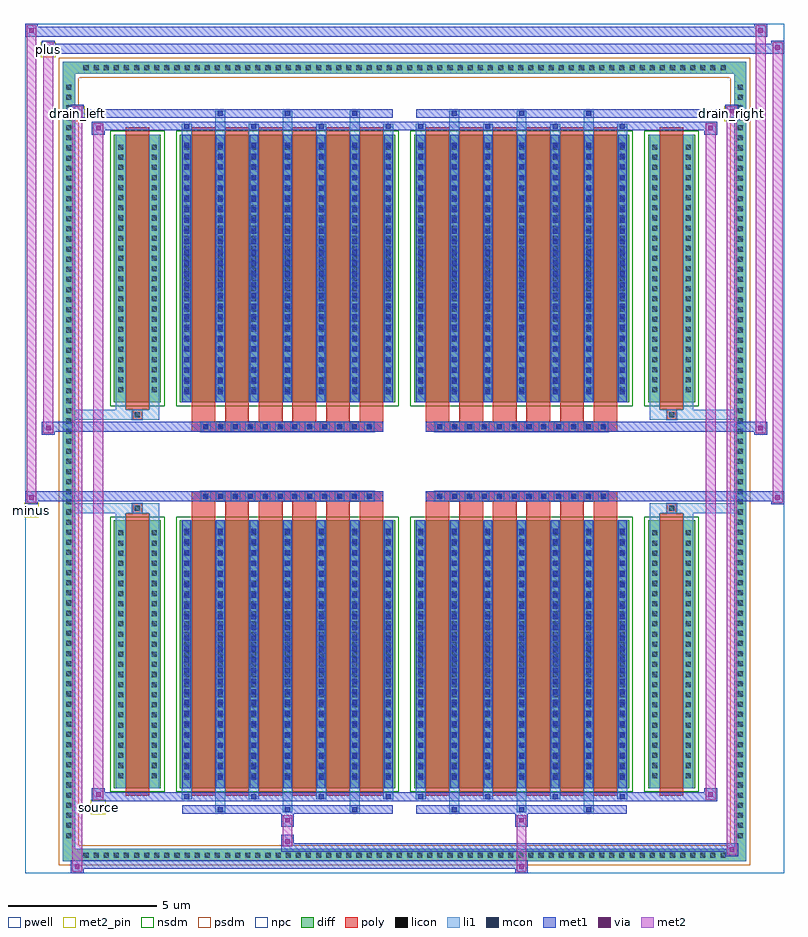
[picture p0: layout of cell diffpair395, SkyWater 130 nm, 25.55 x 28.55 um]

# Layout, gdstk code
import gdstk
lib = gdstk.Library(unit=1e-6, precision=5e-09)
def R(c, l, rs):  # rectangles x0, y0, x1, y1
    for r in rs: c.add(gdstk.rectangle(r[:2], r[2:], *l))
def A(c, l, x, y, w, h, nx, ny, dx, dy):  # array of equal rectangles
    R(c, l, [(x+i*dx, y+j*dy, x+i*dx+w, y+j*dy+h) for i in range(nx) for j in range(ny)])
def P(c, l, *ps):  # polygons
    for p in ps: c.add(gdstk.Polygon(p, *l))
pwell = (64, 44)
diff = (65, 20)
poly = (66, 20)
licon = (66, 44)
li1 = (67, 20)
mcon = (67, 44)
met1 = (68, 20)
via = (68, 44)
met2_pin = (69, 16)
met2 = (69, 20)
nsdm = (93, 44)
psdm = (94, 20)
npc = (95, 20)

diffpair395 = lib.new_cell('diffpair395')
R(diffpair395, pwell, [(-12.76,-13.84,12.76,14.71), (-10.08,-12.03,-0.01,-0.805), (0.01,-12.03,10.08,-0.805), (-10.08,0.805,-0.01,12.03), (0.01,0.805,10.08,12.03)])
A(diffpair395, diff, -10.915, -13.44, 0.41, 0.41, 64, 2, 0.34, 26.47)
A(diffpair395, diff, -11.49, -12.785, 0.41, 0.41, 1, 75, 0, 0.34)
A(diffpair395, diff, 11.08, -12.785, 0.41, 0.41, 1, 75, 0, 0.34)
R(diffpair395, diff, [(-10.915,-13.44,10.915,-13.03), (-11.49,-12.785,-11.08,12.785), (11.08,-12.785,11.49,12.785), (-9.77,-10.985,-8.19,-1.985), (-7.55,-10.985,-0.32,-1.985), (0.32,-10.985,7.55,-1.985), (8.19,-10.985,9.77,-1.985), (-9.77,1.985,-8.19,10.985), (-7.55,1.985,-0.32,10.985), (0.32,1.985,7.55,10.985), (8.19,1.985,9.77,10.985), (-10.915,13.03,10.915,13.44)])
P(diffpair395, diff, [(11.49,13.44),(-11.49,13.44),(-11.49,-13.03),(-11.08,-13.03),(-11.08,13.03),(11.08,13.03),(11.08,-13.03),(-11.08,-13.03),(-11.49,-13.03),(-11.49,-13.44),(11.49,-13.44)])
A(diffpair395, poly, -7.16, -11.235, 0.8, 9.5, 6, 2, 1.13, 12.97)
A(diffpair395, poly, 0.71, -11.235, 0.8, 9.5, 6, 2, 1.13, 12.97)
A(diffpair395, poly, -7.16, -1.735, 0.8, 0.4, 6, 2, 1.13, 3.07)
A(diffpair395, poly, 0.71, -1.735, 0.8, 0.4, 6, 2, 1.13, 3.07)
A(diffpair395, poly, -6.85, -1.335, 0.33, 0.33, 12, 2, 0.5, 2.34)
A(diffpair395, poly, 1.02, -1.335, 0.33, 0.33, 12, 2, 0.5, 2.34)
R(diffpair395, poly, [(-9.38,-11.235,-8.58,-1.735), (8.58,-11.235,9.38,-1.735), (-9.145,-1.735,-8.815,-1.405), (-9.145,-1.735,-8.815,-1.405), (8.815,-1.735,9.145,-1.405), (8.815,-1.735,9.145,-1.405), (-7.16,-1.335,-0.71,-1.005), (0.71,-1.335,7.16,-1.005), (-7.16,1.005,-0.71,1.335), (0.71,1.005,7.16,1.335), (-9.145,1.405,-8.815,1.735), (-9.145,1.405,-8.815,1.735), (8.815,1.405,9.145,1.735), (8.815,1.405,9.145,1.735), (-9.38,1.735,-8.58,11.235), (8.58,1.735,9.38,11.235)])
A(diffpair395, licon, -10.795, -13.32, 0.17, 0.17, 64, 2, 0.34, 26.47)
A(diffpair395, licon, -11.37, -12.665, 0.17, 0.17, 1, 75, 0, 0.34)
A(diffpair395, licon, 11.2, -12.665, 0.17, 0.17, 1, 75, 0, 0.34)
A(diffpair395, licon, -9.63, -10.65, 0.17, 0.17, 1, 25, 0, 0.34)
A(diffpair395, licon, -8.5, -10.65, 0.17, 0.17, 1, 25, 0, 0.34)
A(diffpair395, licon, -7.41, -10.65, 0.17, 0.17, 7, 25, 1.13, 0.34)
A(diffpair395, licon, 0.46, -10.65, 0.17, 0.17, 7, 25, 1.13, 0.34)
A(diffpair395, licon, 8.33, -10.65, 0.17, 0.17, 1, 25, 0, 0.34)
A(diffpair395, licon, 9.46, -10.65, 0.17, 0.17, 1, 25, 0, 0.34)
A(diffpair395, licon, -6.77, -1.255, 0.17, 0.17, 12, 2, 0.5, 2.34)
A(diffpair395, licon, 1.1, -1.255, 0.17, 0.17, 12, 2, 0.5, 2.34)
A(diffpair395, licon, -9.63, 2.32, 0.17, 0.17, 1, 25, 0, 0.34)
A(diffpair395, licon, -8.5, 2.32, 0.17, 0.17, 1, 25, 0, 0.34)
A(diffpair395, licon, -7.41, 2.32, 0.17, 0.17, 7, 25, 1.13, 0.34)
A(diffpair395, licon, 0.46, 2.32, 0.17, 0.17, 7, 25, 1.13, 0.34)
A(diffpair395, licon, 8.33, 2.32, 0.17, 0.17, 1, 25, 0, 0.34)
A(diffpair395, licon, 9.46, 2.32, 0.17, 0.17, 1, 25, 0, 0.34)
R(diffpair395, licon, [(-9.065,-1.655,-8.895,-1.485), (8.895,-1.655,9.065,-1.485), (-9.065,1.485,-8.895,1.655), (8.895,1.485,9.065,1.655)])
A(diffpair395, li1, -10.875, -13.4, 0.33, 0.33, 64, 2, 0.34, 26.47)
A(diffpair395, li1, -11.45, -12.745, 0.33, 0.33, 1, 75, 0, 0.34)
A(diffpair395, li1, 11.12, -12.745, 0.33, 0.33, 1, 75, 0, 0.34)
A(diffpair395, li1, -6.36, -11.79, 0.33, 0.805, 3, 2, 2.26, 22.775)
A(diffpair395, li1, -6.28, -11.79, 0.17, 0.17, 3, 2, 2.26, 23.41)
A(diffpair395, li1, 1.51, -11.79, 0.33, 0.805, 3, 2, 2.26, 22.775)
A(diffpair395, li1, 1.59, -11.79, 0.17, 0.17, 3, 2, 2.26, 23.41)
A(diffpair395, li1, -7.49, -11.36, 0.33, 0.375, 4, 2, 2.26, 22.345)
A(diffpair395, li1, -7.41, -11.36, 0.17, 0.17, 4, 2, 2.26, 22.55)
A(diffpair395, li1, 0.38, -11.36, 0.33, 0.375, 4, 2, 2.26, 22.345)
A(diffpair395, li1, 0.46, -11.36, 0.17, 0.17, 4, 2, 2.26, 22.55)
A(diffpair395, li1, -7.49, -10.985, 0.33, 9, 7, 2, 1.13, 12.97)
A(diffpair395, li1, 0.38, -10.985, 0.33, 9, 7, 2, 1.13, 12.97)
A(diffpair395, li1, -9.71, -10.73, 0.33, 0.33, 1, 25, 0, 0.34)
A(diffpair395, li1, -8.58, -10.73, 0.33, 0.33, 1, 25, 0, 0.34)
A(diffpair395, li1, -7.49, -10.73, 0.33, 0.33, 7, 25, 1.13, 0.34)
A(diffpair395, li1, 0.38, -10.73, 0.33, 0.33, 7, 25, 1.13, 0.34)
A(diffpair395, li1, 8.25, -10.73, 0.33, 0.33, 1, 25, 0, 0.34)
A(diffpair395, li1, 9.38, -10.73, 0.33, 0.33, 1, 25, 0, 0.34)
A(diffpair395, li1, -7.41, -10.71, 0.17, 0.17, 7, 24, 1.13, 0.36)
A(diffpair395, li1, -7.41, -10.71, 0.17, 8.45, 7, 2, 1.13, 12.97)
A(diffpair395, li1, 0.46, -10.71, 0.17, 0.17, 7, 24, 1.13, 0.36)
A(diffpair395, li1, 0.46, -10.71, 0.17, 8.45, 7, 2, 1.13, 12.97)
A(diffpair395, li1, -6.85, -1.335, 0.33, 0.33, 12, 2, 0.5, 2.34)
A(diffpair395, li1, 1.02, -1.335, 0.33, 0.33, 12, 2, 0.5, 2.34)
A(diffpair395, li1, -9.71, 2.24, 0.33, 0.33, 1, 25, 0, 0.34)
A(diffpair395, li1, -8.58, 2.24, 0.33, 0.33, 1, 25, 0, 0.34)
A(diffpair395, li1, -7.49, 2.24, 0.33, 0.33, 7, 25, 1.13, 0.34)
A(diffpair395, li1, 0.38, 2.24, 0.33, 0.33, 7, 25, 1.13, 0.34)
A(diffpair395, li1, 8.25, 2.24, 0.33, 0.33, 1, 25, 0, 0.34)
A(diffpair395, li1, 9.38, 2.24, 0.33, 0.33, 1, 25, 0, 0.34)
A(diffpair395, li1, -7.41, 2.26, 0.17, 0.17, 7, 24, 1.13, 0.36)
A(diffpair395, li1, 0.46, 2.26, 0.17, 0.17, 7, 24, 1.13, 0.36)
R(diffpair395, li1, [(-11.49,-13.44,-11.08,-13.03), (-11.49,-13.44,-11.08,-13.03), (-11.08,-13.44,11.08,-13.03), (11.08,-13.44,11.49,-13.03), (11.08,-13.44,11.49,-13.03), (-11.49,-13.03,-11.08,13.03), (11.08,-13.03,11.49,13.03), (-9.71,-10.985,-9.38,-1.985), (-8.58,-10.985,-8.25,-1.985), (8.25,-10.985,8.58,-1.985), (9.38,-10.985,9.71,-1.985), (-9.71,-1.985,-9.38,-1.405), (-8.58,-1.985,-8.25,-1.405), (8.25,-1.985,8.58,-1.405), (9.38,-1.985,9.71,-1.405), (-11.49,-1.735,-9.145,-1.405), (-9.71,-1.735,-9.145,-1.405), (-9.145,-1.735,-8.815,-1.405), (-8.815,-1.735,-8.25,-1.405), (8.25,-1.735,8.815,-1.405), (8.815,-1.735,9.145,-1.405), (8.815,-1.735,11.49,-1.405), (9.145,-1.735,9.71,-1.405), (-11.49,1.405,-9.145,1.735), (-9.71,1.405,-9.145,1.735), (-9.71,1.405,-9.38,1.985), (-9.145,1.405,-8.815,1.735), (-8.815,1.405,-8.25,1.735), (-8.58,1.405,-8.25,1.985), (8.25,1.405,8.815,1.735), (8.25,1.405,8.58,1.985), (8.815,1.405,9.145,1.735), (8.815,1.405,11.49,1.735), (9.145,1.405,9.71,1.735), (9.38,1.405,9.71,1.985), (-9.71,1.985,-9.38,10.985), (-8.58,1.985,-8.25,10.985), (8.25,1.985,8.58,10.985), (9.38,1.985,9.71,10.985), (-11.49,13.03,-11.08,13.44), (-11.49,13.03,-11.08,13.44), (-11.08,13.03,11.08,13.44), (11.08,13.03,11.49,13.44), (11.08,13.03,11.49,13.44)])
A(diffpair395, mcon, -6.28, -11.79, 0.17, 0.17, 3, 2, 2.26, 23.41)
A(diffpair395, mcon, 1.59, -11.79, 0.17, 0.17, 3, 2, 2.26, 23.41)
A(diffpair395, mcon, -7.41, -11.36, 0.17, 0.17, 4, 2, 2.26, 22.55)
A(diffpair395, mcon, 0.46, -11.36, 0.17, 0.17, 4, 2, 2.26, 22.55)
A(diffpair395, mcon, -7.41, -10.71, 0.17, 0.17, 7, 24, 1.13, 0.36)
A(diffpair395, mcon, 0.46, -10.71, 0.17, 0.17, 7, 24, 1.13, 0.36)
A(diffpair395, mcon, -6.77, -1.255, 0.17, 0.17, 12, 2, 0.5, 2.34)
A(diffpair395, mcon, 1.1, -1.255, 0.17, 0.17, 12, 2, 0.5, 2.34)
A(diffpair395, mcon, -7.41, 2.26, 0.17, 0.17, 7, 24, 1.13, 0.36)
A(diffpair395, mcon, 0.46, 2.26, 0.17, 0.17, 7, 24, 1.13, 0.36)
A(diffpair395, met1, -6.34, -11.85, 0.29, 0.29, 3, 2, 2.26, 23.41)
A(diffpair395, met1, 1.53, -11.85, 0.29, 0.29, 3, 2, 2.26, 23.41)
A(diffpair395, met1, -7.47, -11.42, 0.29, 0.29, 4, 2, 2.26, 22.55)
A(diffpair395, met1, 0.4, -11.42, 0.29, 0.29, 4, 2, 2.26, 22.55)
A(diffpair395, met1, -7.47, -10.985, 0.29, 9, 7, 2, 1.13, 12.97)
A(diffpair395, met1, 0.4, -10.985, 0.29, 9, 7, 2, 1.13, 12.97)
A(diffpair395, met1, -7.47, -10.77, 0.29, 0.29, 7, 24, 1.13, 0.36)
A(diffpair395, met1, 0.4, -10.77, 0.29, 0.29, 7, 24, 1.13, 0.36)
A(diffpair395, met1, -6.83, -1.315, 0.29, 0.29, 12, 2, 0.5, 2.34)
A(diffpair395, met1, 1.04, -1.315, 0.29, 0.29, 12, 2, 0.5, 2.34)
A(diffpair395, met1, -7.47, 2.2, 0.29, 0.29, 7, 24, 1.13, 0.36)
A(diffpair395, met1, 0.4, 2.2, 0.29, 0.29, 7, 24, 1.13, 0.36)
R(diffpair395, met1, [(-11.22,-13.84,-10.79,-13.41), (3.72,-13.84,4.15,-13.41), (-11.22,-13.7,4.15,-13.41), (10.79,-13.27,11.22,-12.84), (-4.15,-13.13,11.22,-12.84), (-4.15,-12.99,-3.72,-12.56), (-4.15,-12.28,-3.72,-11.85), (3.72,-12.28,4.15,-11.85), (-7.47,-11.85,-0.4,-11.56), (0.4,-11.85,7.47,-11.56), (-10.51,-11.42,-10.08,-10.99), (-10.51,-11.42,-7.47,-11.13), (-7.47,-11.42,-0.4,-11.13), (-0.4,-11.42,0.4,-11.13), (0.4,-11.42,7.47,-11.13), (7.47,-11.42,10.51,-11.13), (10.08,-11.42,10.51,-10.99), (-12.76,-1.435,-12.33,-1.005), (12.33,-1.435,12.76,-1.005), (-12.76,-1.335,-0.71,-1.005), (-7.16,-1.335,-0.71,-1.005), (0.71,-1.335,7.16,-1.005), (0.71,-1.335,12.76,-1.005), (-12.19,0.905,-11.76,1.335), (11.76,0.905,12.19,1.335), (-12.19,1.005,-7.16,1.335), (-7.16,1.005,-0.71,1.335), (0.71,1.005,7.16,1.335), (7.16,1.005,12.19,1.335), (-10.51,10.99,-10.08,11.42), (10.08,10.99,10.51,11.42), (-10.51,11.13,-7.47,11.42), (-7.47,11.13,-0.4,11.42), (-0.4,11.13,0.4,11.42), (0.4,11.13,7.47,11.42), (7.47,11.13,10.51,11.42), (-11.22,11.56,-10.79,11.99), (-11.22,11.56,-7.47,11.85), (-7.47,11.56,-0.4,11.85), (0.4,11.56,7.47,11.85), (7.47,11.56,11.22,11.85), (10.79,11.56,11.22,11.99), (-12.19,13.71,-11.76,14.14), (-12.19,13.71,-10.08,14.04), (-10.08,13.71,10.08,14.04), (10.08,13.71,12.76,14.04), (12.33,13.71,12.76,14.14), (-12.76,14.28,-12.33,14.71), (-12.76,14.28,-10.08,14.61), (-10.08,14.28,10.08,14.61), (10.08,14.28,12.19,14.61), (11.76,14.28,12.19,14.71)])
R(diffpair395, via, [(-11.08,-13.7,-10.93,-13.55), (3.86,-13.7,4.01,-13.55), (10.93,-13.13,11.08,-12.98), (-4.01,-12.85,-3.86,-12.7), (-4.01,-12.14,-3.86,-11.99), (3.86,-12.14,4.01,-11.99), (-10.37,-11.28,-10.22,-11.13), (10.22,-11.28,10.37,-11.13), (-12.62,-1.295,-12.47,-1.145), (12.47,-1.295,12.62,-1.145), (-12.05,1.045,-11.9,1.195), (11.9,1.045,12.05,1.195), (-10.37,11.13,-10.22,11.28), (10.22,11.13,10.37,11.28), (-11.08,11.7,-10.93,11.85), (10.93,11.7,11.08,11.85), (-12.05,13.85,-11.9,14), (12.47,13.85,12.62,14), (-12.62,14.42,-12.47,14.57), (11.9,14.42,12.05,14.57)])
R(diffpair395, met2_pin, [(-10.545,-11.87,-10.045,-11.37), (-12.795,-1.885,-12.295,-1.385), (-11.255,11.44,-10.755,11.94), (10.755,11.44,11.255,11.94), (-12.225,13.59,-11.725,14.09)])
R(diffpair395, met2, [(-11.17,-13.79,-10.84,-13.46), (-11.17,-13.79,-10.84,11.94), (3.77,-13.79,4.1,-13.46), (3.77,-13.46,4.1,-12.23), (10.84,-13.22,11.17,-12.89), (10.84,-13.22,11.17,11.94), (-4.1,-12.94,-3.77,-12.61), (-4.1,-12.61,-3.77,-12.23), (-4.1,-12.23,-3.77,-11.9), (3.77,-12.23,4.1,-11.9), (-10.46,-11.37,-10.13,-11.04), (-10.46,-11.37,-10.13,11.37), (10.13,-11.37,10.46,-11.04), (10.13,-11.37,10.46,11.37), (-12.71,-1.385,-12.38,-1.055), (-12.71,-1.385,-12.38,14.66), (12.38,-1.385,12.71,-1.055), (12.38,-1.385,12.71,14.09), (-12.14,0.955,-11.81,1.285), (-12.14,0.955,-11.81,14.09), (11.81,0.955,12.14,1.285), (11.81,0.955,12.14,14.66), (-10.46,11.04,-10.13,11.37), (10.13,11.04,10.46,11.37), (-11.17,11.61,-10.84,11.94), (10.84,11.61,11.17,11.94), (-12.14,13.76,-11.81,14.09), (12.38,13.76,12.71,14.09), (-12.71,14.33,-12.38,14.66), (11.81,14.33,12.14,14.66)])
P(diffpair395, met2, [(12.71,-1.385),(12.71,-1.385),(12.71,-1.055),(12.71,-1.055)],
  [(12.71,13.76),(12.71,13.76),(12.71,14.09),(12.71,14.09)],
  [(-12.38,-1.385),(-12.38,-1.385),(-12.38,-1.055),(-12.38,-1.055)],
  [(-12.38,14.33),(-12.38,14.33),(-12.38,14.66),(-12.38,14.66)],
  [(12.14,0.955),(12.14,0.955),(12.14,1.285),(12.14,1.285)],
  [(12.14,14.33),(12.14,14.33),(12.14,14.66),(12.14,14.66)],
  [(-11.81,0.955),(-11.81,0.955),(-11.81,1.285),(-11.81,1.285)],
  [(-11.81,13.76),(-11.81,13.76),(-11.81,14.09),(-11.81,14.09)],
  [(-10.84,-13.79),(-10.84,-13.79),(-10.84,-13.46),(-10.84,-13.46)],
  [(-10.84,11.61),(-10.84,11.61),(-10.84,11.94),(-10.84,11.94)],
  [(11.17,-13.22),(11.17,-13.22),(11.17,-12.89),(11.17,-12.89)],
  [(11.17,11.61),(11.17,11.61),(11.17,11.94),(11.17,11.94)],
  [(-10.13,-11.37),(-10.13,-11.37),(-10.13,-11.04),(-10.13,-11.04)],
  [(-10.13,11.04),(-10.13,11.04),(-10.13,11.37),(-10.13,11.37)],
  [(10.46,-11.37),(10.46,-11.37),(10.46,-11.04),(10.46,-11.04)],
  [(10.46,11.04),(10.46,11.04),(10.46,11.37),(10.46,11.37)])
R(diffpair395, nsdm, [(-9.9,-11.115,-8.06,-1.855), (-7.68,-11.115,-0.19,-1.855), (0.19,-11.115,7.68,-1.855), (8.06,-11.115,9.9,-1.855), (-9.9,1.855,-8.06,11.115), (-7.68,1.855,-0.19,11.115), (0.19,1.855,7.68,11.115), (8.06,1.855,9.9,11.115)])
P(diffpair395, psdm, [(11.62,13.57),(-11.62,13.57),(-11.62,-12.9),(-10.95,-12.9),(-10.95,12.9),(10.95,12.9),(10.95,-12.9),(-10.95,-12.9),(-11.62,-12.9),(-11.62,-13.57),(11.62,-13.57)])
A(diffpair395, npc, -6.87, -1.355, 0.37, 0.37, 12, 2, 0.5, 2.34)
A(diffpair395, npc, 1, -1.355, 0.37, 0.37, 12, 2, 0.5, 2.34)
R(diffpair395, npc, [(-9.165,-1.755,-8.795,-1.385), (8.795,-1.755,9.165,-1.385), (-6.87,-1.355,-6,-0.985), (-6.87,-1.355,-6,-0.985), (-6.37,-1.355,-5.5,-0.985), (-6.37,-1.355,-5.5,-0.985), (-5.87,-1.355,-5,-0.985), (-5.87,-1.355,-5,-0.985), (-5.37,-1.355,-4.5,-0.985), (-5.37,-1.355,-4.5,-0.985), (-4.87,-1.355,-4,-0.985), (-4.87,-1.355,-4,-0.985), (-4.37,-1.355,-3.5,-0.985), (-4.37,-1.355,-3.5,-0.985), (-3.87,-1.355,-3,-0.985), (-3.87,-1.355,-3,-0.985), (-3.37,-1.355,-2.5,-0.985), (-3.37,-1.355,-2.5,-0.985), (-2.87,-1.355,-2,-0.985), (-2.87,-1.355,-2,-0.985), (-2.37,-1.355,-1.5,-0.985), (-2.37,-1.355,-1.5,-0.985), (-1.87,-1.355,-1,-0.985), (-1.87,-1.355,-1,-0.985), (1,-1.355,1.87,-0.985), (1,-1.355,1.87,-0.985), (1.5,-1.355,2.37,-0.985), (1.5,-1.355,2.37,-0.985), (2,-1.355,2.87,-0.985), (2,-1.355,2.87,-0.985), (2.5,-1.355,3.37,-0.985), (2.5,-1.355,3.37,-0.985), (3,-1.355,3.87,-0.985), (3,-1.355,3.87,-0.985), (3.5,-1.355,4.37,-0.985), (3.5,-1.355,4.37,-0.985), (4,-1.355,4.87,-0.985), (4,-1.355,4.87,-0.985), (4.5,-1.355,5.37,-0.985), (4.5,-1.355,5.37,-0.985), (5,-1.355,5.87,-0.985), (5,-1.355,5.87,-0.985), (5.5,-1.355,6.37,-0.985), (5.5,-1.355,6.37,-0.985), (6,-1.355,6.87,-0.985), (6,-1.355,6.87,-0.985), (-6.87,0.985,-6,1.355), (-6.87,0.985,-6,1.355), (-6.37,0.985,-5.5,1.355), (-6.37,0.985,-5.5,1.355), (-5.87,0.985,-5,1.355), (-5.87,0.985,-5,1.355), (-5.37,0.985,-4.5,1.355), (-5.37,0.985,-4.5,1.355), (-4.87,0.985,-4,1.355), (-4.87,0.985,-4,1.355), (-4.37,0.985,-3.5,1.355), (-4.37,0.985,-3.5,1.355), (-3.87,0.985,-3,1.355), (-3.87,0.985,-3,1.355), (-3.37,0.985,-2.5,1.355), (-3.37,0.985,-2.5,1.355), (-2.87,0.985,-2,1.355), (-2.87,0.985,-2,1.355), (-2.37,0.985,-1.5,1.355), (-2.37,0.985,-1.5,1.355), (-1.87,0.985,-1,1.355), (-1.87,0.985,-1,1.355), (1,0.985,1.87,1.355), (1,0.985,1.87,1.355), (1.5,0.985,2.37,1.355), (1.5,0.985,2.37,1.355), (2,0.985,2.87,1.355), (2,0.985,2.87,1.355), (2.5,0.985,3.37,1.355), (2.5,0.985,3.37,1.355), (3,0.985,3.87,1.355), (3,0.985,3.87,1.355), (3.5,0.985,4.37,1.355), (3.5,0.985,4.37,1.355), (4,0.985,4.87,1.355), (4,0.985,4.87,1.355), (4.5,0.985,5.37,1.355), (4.5,0.985,5.37,1.355), (5,0.985,5.87,1.355), (5,0.985,5.87,1.355), (5.5,0.985,6.37,1.355), (5.5,0.985,6.37,1.355), (6,0.985,6.87,1.355), (6,0.985,6.87,1.355), (-9.165,1.385,-8.795,1.755), (8.795,1.385,9.165,1.755)])
diffpair395.add(gdstk.Label('minus', (-12.545,-1.635), layer=69, texttype=5))
diffpair395.add(gdstk.Label('drain_right', (11.005,11.69), layer=69, texttype=5))
diffpair395.add(gdstk.Label('drain_left', (-11.005,11.69), layer=69, texttype=5))
diffpair395.add(gdstk.Label('source', (-10.295,-11.62), layer=69, texttype=5))
diffpair395.add(gdstk.Label('plus', (-11.975,13.84), layer=69, texttype=5))

lib.write_gds('diffpair395.gds')
